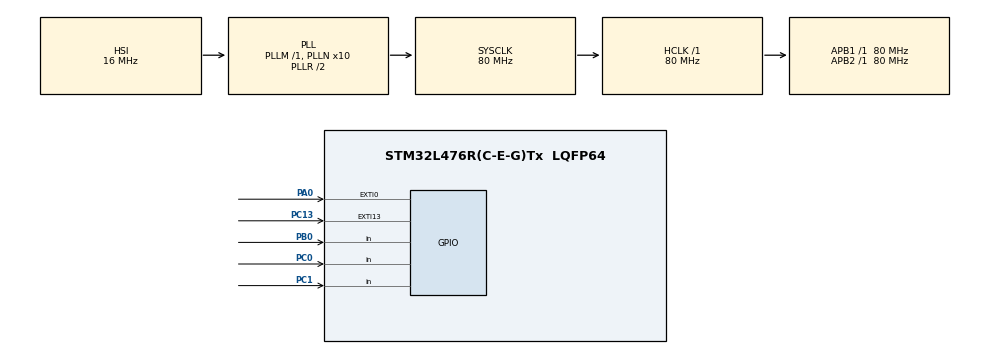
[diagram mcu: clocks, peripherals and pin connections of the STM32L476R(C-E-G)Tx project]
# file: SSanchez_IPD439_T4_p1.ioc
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Mcu.Family=STM32L4
Mcu.Name=STM32L476R(C-E-G)Tx
Mcu.Package=LQFP64
NVIC.EXTI0_IRQn=true\:0\:0\:false\:false\:true\:true\:true\:true
NVIC.EXTI15_10_IRQn=true\:0\:0\:false\:false\:true\:true\:true\:true
NVIC.PriorityGroup=NVIC_PRIORITYGROUP_4
PA0.Signal=GPXTI0
PB0.Signal=GPIO_Input
PC0.Signal=GPIO_Input
PC1.Signal=GPIO_Input
PC13.Signal=GPXTI13
ProjectManager.HeapSize=0x200
ProjectManager.StackSize=0x400
ProjectManager.TargetToolchain=STM32CubeIDE
RCC.ADCFreq_Value=64000000
RCC.AHBFreq_Value=80000000
RCC.APB1Freq_Value=80000000
RCC.APB1TimFreq_Value=80000000
RCC.APB2Freq_Value=80000000
RCC.APB2TimFreq_Value=80000000
RCC.CortexFreq_Value=80000000
RCC.HCLKFreq_Value=80000000
RCC.HSE_VALUE=8000000
RCC.HSI_VALUE=16000000
RCC.LSE_VALUE=32768
RCC.MSI_VALUE=4000000
RCC.PLLN=10
RCC.PLLSourceVirtual=RCC_PLLSOURCE_HSI
RCC.SYSCLKFreq_VALUE=80000000
RCC.SYSCLKSource=RCC_SYSCLKSOURCE_PLLCLK
RCC.USBFreq_Value=64000000
RCC.VCOOutputFreq_Value=160000000
board=custom

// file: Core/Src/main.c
/* USER CODE BEGIN Header */
/**
  ******************************************************************************
  * @file           : main.c
  * @brief          : Main program body
  ******************************************************************************
  * @attention
  *
  * Copyright (c) 2026 STMicroelectronics.
  * All rights reserved.
  *
  * This software is licensed under terms that can be found in the LICENSE file
  * in the root directory of this software component.
  * If no LICENSE file comes with this software, it is provided AS-IS.
  *
  ******************************************************************************
  */
/* USER CODE END Header */
#include "main.h"
#include "gpio.h"

void SystemClock_Config(void);

int main(void)
{

  /* MCU Configuration--------------------------------------------------------*/

  /* Reset of all peripherals, Initializes the Flash interface and the Systick. */
  HAL_Init();

  /* Configure the system clock */
  SystemClock_Config();

  /* Initialize all configured peripherals */
  MX_GPIO_Init();
  /* USER CODE BEGIN 2 */
  __HAL_PWR_CLEAR_FLAG(PWR_FLAG_WU);
  HAL_PWR_EnableWakeUpPin(PWR_WAKEUP_PIN1_HIGH);
  extern volatile uint8_t modo;
  if (__HAL_PWR_GET_FLAG(PWR_FLAG_SB) != RESET) {
        __HAL_PWR_CLEAR_FLAG(PWR_FLAG_SB);
    }
  /* USER CODE END 2 */

  /* Infinite loop */
  while (1)
  {

    /* USER CODE BEGIN 3 */
	  if(modo==7){
		  modo=0;
		  HAL_PWREx_ControlVoltageScaling(PWR_REGULATOR_VOLTAGE_SCALE1);
	  }
	  else if(modo==1){
		  HAL_SuspendTick();
		  HAL_PWR_EnterSLEEPMode(PWR_MAINREGULATOR_ON, PWR_SLEEPENTRY_WFI);
		  HAL_ResumeTick();
		  modo=0;
	  }
	  else if(modo==2){
		  HAL_SuspendTick();
		  HAL_PWREx_EnterSTOP0Mode(PWR_SLEEPENTRY_WFI);
		  SystemClock_Config();
		  HAL_ResumeTick();
		  modo=0;
	  }
	  else if(modo==3){
		  HAL_SuspendTick();
		  HAL_PWREx_EnterSTOP1Mode(PWR_SLEEPENTRY_WFI);
		  SystemClock_Config();
		  HAL_ResumeTick();
		  modo=0;
	  }
	  else if(modo==4){
		  HAL_SuspendTick();
		  __HAL_PWR_CLEAR_FLAG(PWR_FLAG_WU);
		  HAL_PWREx_EnterSTOP2Mode(PWR_SLEEPENTRY_WFI);
		  SystemClock_Config();
		  HAL_ResumeTick();
		  modo=0;
	  }
	  else if(modo==5){
		  __HAL_PWR_CLEAR_FLAG(PWR_FLAG_WU);
		  HAL_PWR_EnterSTANDBYMode();
	  }
	  else if(modo==6){
		  __HAL_PWR_CLEAR_FLAG(PWR_FLAG_WU);
		  HAL_PWREx_EnterSHUTDOWNMode();
	  }
	  else{

	  }
  }
  /* USER CODE END 3 */
}

void SystemClock_Config(void)
{
  RCC_OscInitTypeDef RCC_OscInitStruct = {0};
  RCC_ClkInitTypeDef RCC_ClkInitStruct = {0};

  /** Configure the main internal regulator output voltage
  */
  if (HAL_PWREx_ControlVoltageScaling(PWR_REGULATOR_VOLTAGE_SCALE1) != HAL_OK)
  {
    Error_Handler();
  }

  /** Initializes the RCC Oscillators according to the specified parameters
  * in the RCC_OscInitTypeDef structure.
  */
  RCC_OscInitStruct.OscillatorType = RCC_OSCILLATORTYPE_HSI;
  RCC_OscInitStruct.HSIState = RCC_HSI_ON;
  RCC_OscInitStruct.HSICalibrationValue = RCC_HSICALIBRATION_DEFAULT;
  RCC_OscInitStruct.PLL.PLLState = RCC_PLL_ON;
  RCC_OscInitStruct.PLL.PLLSource = RCC_PLLSOURCE_HSI;
  RCC_OscInitStruct.PLL.PLLM = 1;
  RCC_OscInitStruct.PLL.PLLN = 10;
  RCC_OscInitStruct.PLL.PLLP = RCC_PLLP_DIV7;
  RCC_OscInitStruct.PLL.PLLQ = RCC_PLLQ_DIV2;
  RCC_OscInitStruct.PLL.PLLR = RCC_PLLR_DIV2;
  if (HAL_RCC_OscConfig(&RCC_OscInitStruct) != HAL_OK)
  {
    Error_Handler();
  }

  /** Initializes the CPU, AHB and APB buses clocks
  */
  RCC_ClkInitStruct.ClockType = RCC_CLOCKTYPE_HCLK|RCC_CLOCKTYPE_SYSCLK
                              |RCC_CLOCKTYPE_PCLK1|RCC_CLOCKTYPE_PCLK2;
  RCC_ClkInitStruct.SYSCLKSource = RCC_SYSCLKSOURCE_PLLCLK;
  RCC_ClkInitStruct.AHBCLKDivider = RCC_SYSCLK_DIV1;
  RCC_ClkInitStruct.APB1CLKDivider = RCC_HCLK_DIV1;
  RCC_ClkInitStruct.APB2CLKDivider = RCC_HCLK_DIV1;

  if (HAL_RCC_ClockConfig(&RCC_ClkInitStruct, FLASH_LATENCY_4) != HAL_OK)
  {
    Error_Handler();
  }
}

void Error_Handler(void)
{
  __disable_irq();
  while (1)
  {
  }
}
